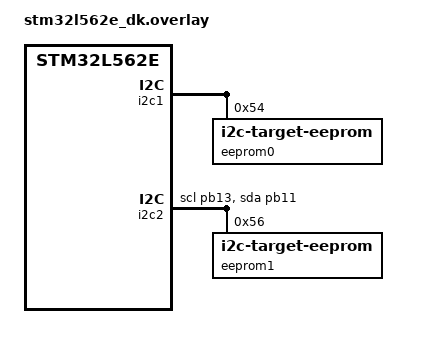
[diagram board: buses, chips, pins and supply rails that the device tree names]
/*
 * Copyright (c) 2025 STMicroelectronics
 * SPDX-License-Identifier: Apache-2.0
 */

/* I2C bus pins are exposed in the Arduino Uno header and Pmod.
 *
 *  Bus        SDA               SCL
 *          Pin   Hdr         Pin   Hdr
 *  i2c1    PB7   CN11:9      PB6   CN11:10
 *  i2c2    PB11  CN12:2      PB13  CN4:1
 *
 * Short Pin PB7 to PB11, and PB6 to PB13, for the test to pass.
 */

&i2c1 {
	eeprom0: eeprom@54 {
		compatible = "zephyr,i2c-target-eeprom";
		reg = <0x54>;
		size = <256>;
	};
};

&i2c2 {
	pinctrl-0 = <&i2c2_scl_pb13 &i2c2_sda_pb11>;
	pinctrl-names = "default";
	status = "okay";

	eeprom1: eeprom@56 {
		compatible = "zephyr,i2c-target-eeprom";
		reg = <0x56>;
		size = <256>;
	};
};
